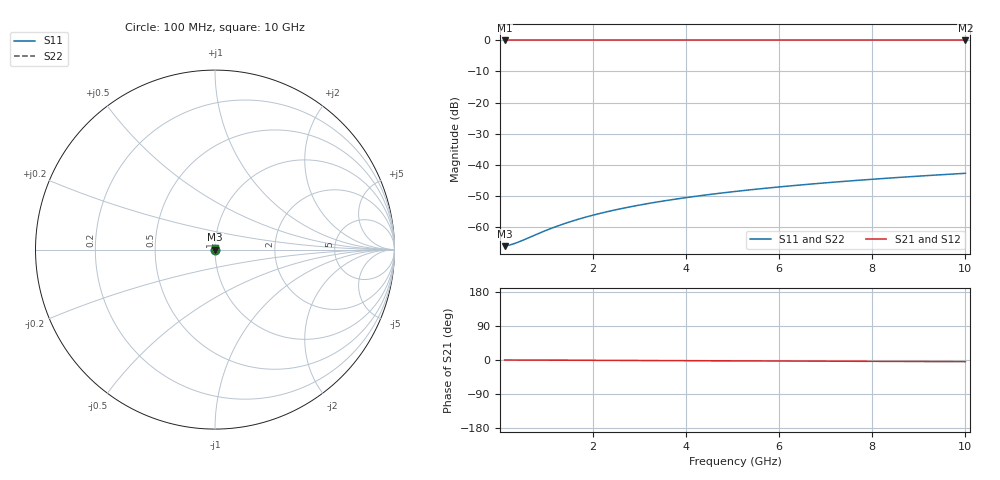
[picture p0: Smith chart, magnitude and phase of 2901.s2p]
# Hz S RI R 50.00
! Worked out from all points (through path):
!   100 points, 100 MHz to 10 GHz, reference 50 ohm
!   highest |S21| = 0.00 dB at 100 MHz (marker M1); lowest = 0.0 dB at 10 GHz (marker M2)
!   lowest |S11| = -66.2 dB at 100 MHz (marker M3), VSWR 1.00, Z = 50 + j0.00724 ohm
!   |S11| at or under -10 dB: start of sweep to end of sweep
!   |S22| runs from -66.2 to -42.8 dB; largest |S21 - S12| = 0
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1e8  0.000482 7.24e-05  0.9995 -0.000769  0.9995 -0.000769  0.000482 7.24e-05
2e8  0.000485 0.000145  0.9995 -0.00154  0.9995 -0.00154  0.000485 0.000145
3e8  0.000487 0.000217  0.9995 -0.00231  0.9995 -0.00231  0.000487 0.000217
4e8  0.000489 0.000289  0.9995 -0.00308  0.9995 -0.00308  0.000489 0.000289
9e8  0.000498 0.000651  0.9995 -0.00692  0.9995 -0.00692  0.000498 0.000651
1.2e9  0.000504 0.000868  0.9995 -0.00923  0.9995 -0.00923  0.000504 0.000868
1.5e9  0.00051 0.00108  0.9994 -0.0115  0.9994 -0.0115  0.00051 0.00108
1.8e9  0.000517 0.0013  0.9994 -0.0138  0.9994 -0.0138  0.000517 0.0013
2.1e9  0.000524 0.00152  0.9994 -0.0162  0.9994 -0.0162  0.000524 0.00152
2.5e9  0.000536 0.00181  0.9993 -0.0192  0.9993 -0.0192  0.000536 0.00181
2.9e9  0.000549 0.00209  0.9992 -0.0223  0.9992 -0.0223  0.000549 0.00209
3.4e9  0.000568 0.00246  0.9991 -0.0262  0.9991 -0.0262  0.000568 0.00246
3.8e9  0.000585 0.00274  0.999 -0.0292  0.999 -0.0292  0.000585 0.00274
4.2e9  0.000604 0.00303  0.9989 -0.0323  0.9989 -0.0323  0.000604 0.00303
4.6e9  0.000625 0.00332  0.9988 -0.0354  0.9988 -0.0354  0.000625 0.00332
5.1e9  0.000653 0.00368  0.9987 -0.0392  0.9987 -0.0392  0.000653 0.00368
5.9e9  0.000704 0.00425  0.9984 -0.0454  0.9984 -0.0454  0.000704 0.00425
6.7e9  0.000761 0.00482  0.9981 -0.0516  0.9981 -0.0516  0.000761 0.00482
7.5e9  0.000826 0.00539  0.9978 -0.0578  0.9978 -0.0578  0.000826 0.00539
8.4e9  0.000908 0.00604  0.9973 -0.0647  0.9973 -0.0647  0.000908 0.00604
9.2e9  0.000988 0.00661  0.9969 -0.0709  0.9969 -0.0709  0.000988 0.00661
1e10  0.00108 0.00718  0.9964 -0.0771  0.9964 -0.0771  0.00108 0.00718
